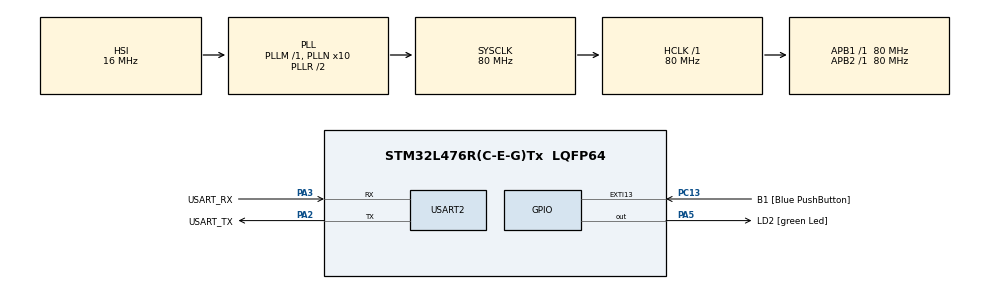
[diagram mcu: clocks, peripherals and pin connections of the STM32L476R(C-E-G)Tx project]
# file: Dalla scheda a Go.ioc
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Mcu.Family=STM32L4
Mcu.Name=STM32L476R(C-E-G)Tx
Mcu.Package=LQFP64
NVIC.PriorityGroup=NVIC_PRIORITYGROUP_4
NVIC.USART2_IRQn=true\:0\:0\:false\:false\:true\:true\:true\:true
PA13\ (JTMS-SWDIO).GPIO_Label=TMS
PA13\ (JTMS-SWDIO).Signal=SYS_JTMS-SWDIO
PA14\ (JTCK-SWCLK).GPIO_Label=TCK
PA14\ (JTCK-SWCLK).Signal=SYS_JTCK-SWCLK
PA2.GPIO_Label=USART_TX
PA2.GPIO_Mode=GPIO_MODE_AF_PP
PA2.GPIO_PuPd=GPIO_NOPULL
PA2.GPIO_Speed=GPIO_SPEED_FREQ_VERY_HIGH
PA2.Mode=Asynchronous
PA2.Signal=USART2_TX
PA3.GPIO_Label=USART_RX
PA3.GPIO_Mode=GPIO_MODE_AF_PP
PA3.GPIO_PuPd=GPIO_NOPULL
PA3.GPIO_Speed=GPIO_SPEED_FREQ_VERY_HIGH
PA3.Mode=Asynchronous
PA3.Signal=USART2_RX
PA5.GPIO_Label=LD2 [green Led]
PA5.GPIO_ModeDefaultOutputPP=GPIO_MODE_OUTPUT_PP
PA5.GPIO_PuPd=GPIO_NOPULL
PA5.GPIO_Speed=GPIO_SPEED_FREQ_LOW
PA5.Signal=GPIO_Output
PB3\ (JTDO-TRACESWO).GPIO_Label=SWO
PB3\ (JTDO-TRACESWO).Signal=SYS_JTDO-SWO
PC13.GPIO_Label=B1 [Blue PushButton]
PC13.GPIO_ModeDefaultEXTI=GPIO_MODE_IT_FALLING
PC13.GPIO_PuPd=GPIO_NOPULL
PC13.Signal=GPXTI13
PC14-OSC32_IN\ (PC14).Signal=RCC_OSC32_IN
PC15-OSC32_OUT\ (PC15).Signal=RCC_OSC32_OUT
PH0-OSC_IN\ (PH0).Signal=RCC_OSC_IN
PH1-OSC_OUT\ (PH1).Signal=RCC_OSC_OUT
ProjectManager.HeapSize=0x200
ProjectManager.StackSize=0x400
ProjectManager.TargetToolchain=STM32CubeIDE
RCC.ADCFreq_Value=64000000
RCC.AHBFreq_Value=80000000
RCC.APB1Freq_Value=80000000
RCC.APB1TimFreq_Value=80000000
RCC.APB2Freq_Value=80000000
RCC.APB2TimFreq_Value=80000000
RCC.CortexFreq_Value=80000000
RCC.HCLKFreq_Value=80000000
RCC.HSE_VALUE=8000000
RCC.HSI_VALUE=16000000
RCC.LSE_VALUE=32768
RCC.MSI_VALUE=4000000
RCC.PLLN=10
RCC.PLLSourceVirtual=RCC_PLLSOURCE_HSI
RCC.PREFETCH_ENABLE=1
RCC.SYSCLKFreq_VALUE=80000000
RCC.SYSCLKSource=RCC_SYSCLKSOURCE_PLLCLK
RCC.USBFreq_Value=64000000
RCC.VCOOutputFreq_Value=160000000
USART2.VirtualMode-Asynchronous=VM_ASYNC
board=NUCLEO-L476RG

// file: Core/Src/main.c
/* USER CODE BEGIN Header */
/**
  ******************************************************************************
  * @file           : main.c
  * @brief          : Main program body - Tappa 1 MyTurn
  ******************************************************************************
  */
/* USER CODE END Header */
#include "main.h"

/* USER CODE BEGIN Includes */
#include <string.h>
/* USER CODE END Includes */

/* USER CODE BEGIN PTD */
typedef enum { OFF, PENDING, APPROVED } stato_t;
/* USER CODE END PTD */

UART_HandleTypeDef huart2;

/* USER CODE BEGIN PV */
volatile stato_t stato = OFF;      /* unica variabile: la cambiano bottone e PC */
uint8_t rx_byte;
char rx_buf[64];
volatile uint8_t rx_len = 0;
char riga[64];
volatile uint8_t riga_pronta = 0;
/* USER CODE END PV */

void SystemClock_Config(void);
static void MX_GPIO_Init(void);
static void MX_USART2_UART_Init(void);

/* USER CODE BEGIN 0 */
void invia(const char *s)
{
  HAL_UART_Transmit(&huart2, (uint8_t*)s, strlen(s), 100);
}
/* USER CODE END 0 */

int main(void)
{

  /* MCU Configuration--------------------------------------------------------*/

  /* Reset of all peripherals, Initializes the Flash interface and the Systick. */
  HAL_Init();

  /* Configure the system clock */
  SystemClock_Config();

  /* Initialize all configured peripherals */
  MX_GPIO_Init();
  MX_USART2_UART_Init();
  /* USER CODE BEGIN 2 */
  HAL_UART_Receive_IT(&huart2, &rx_byte, 1);
  /* USER CODE END 2 */

  /* Infinite loop */
  while (1)
  {

    /* USER CODE BEGIN 3 */
    /* --- bottone B1 con antirimbalzo 50 ms (premuto = RESET) */
    static GPIO_PinState prec = GPIO_PIN_SET;
    static uint32_t t_btn = 0;
    GPIO_PinState ora = HAL_GPIO_ReadPin(B1_GPIO_Port, B1_Pin);
    if (ora != prec && HAL_GetTick() - t_btn > 50)
    {
      t_btn = HAL_GetTick();
      prec = ora;
      if (ora == GPIO_PIN_RESET)
      {
        if (stato == OFF) { stato = PENDING; invia("{\"event\":\"REQUEST\"}\n"); }
        else              { stato = OFF;     invia("{\"event\":\"RELEASE\"}\n"); }
      }
    }

    /* --- comandi dal PC */
    if (riga_pronta)
    {
      if (strstr(riga, "SET_LED") && strstr(riga, "APPROVED"))
      {
        stato = APPROVED;              /* nessuna risposta */
      }
      else if (strstr(riga, "GET_LED"))
      {
        if (stato == OFF)
        {
          invia("{\"led\":\"OFF\"}\n");
        }
        else if (stato == PENDING)
        {
          invia("{\"led\":\"PENDING\"}\n");
        }
        else
        {
          invia("{\"led\":\"APPROVED\"}\n");
        }
      }
      riga_pronta = 0;
    }

    /* --- LED LD2: spento, lampeggiante o fisso (senza HAL_Delay) */
    static uint32_t t_led = 0;
    if (stato == OFF)
    {
      HAL_GPIO_WritePin(LD2_GPIO_Port, LD2_Pin, GPIO_PIN_RESET);
    }
    else if (stato == APPROVED)
    {
      HAL_GPIO_WritePin(LD2_GPIO_Port, LD2_Pin, GPIO_PIN_SET);
    }
    else if (HAL_GetTick() - t_led >= 250)
    {
      t_led = HAL_GetTick();
      HAL_GPIO_TogglePin(LD2_GPIO_Port, LD2_Pin);
    }
  }
  /* USER CODE END 3 */
}

void SystemClock_Config(void)
{
  RCC_OscInitTypeDef RCC_OscInitStruct = {0};
  RCC_ClkInitTypeDef RCC_ClkInitStruct = {0};

  if (HAL_PWREx_ControlVoltageScaling(PWR_REGULATOR_VOLTAGE_SCALE1) != HAL_OK)
  {
    Error_Handler();
  }

  RCC_OscInitStruct.OscillatorType = RCC_OSCILLATORTYPE_HSI;
  RCC_OscInitStruct.HSIState = RCC_HSI_ON;
  RCC_OscInitStruct.HSICalibrationValue = RCC_HSICALIBRATION_DEFAULT;
  RCC_OscInitStruct.PLL.PLLState = RCC_PLL_ON;
  RCC_OscInitStruct.PLL.PLLSource = RCC_PLLSOURCE_HSI;
  RCC_OscInitStruct.PLL.PLLM = 1;
  RCC_OscInitStruct.PLL.PLLN = 10;
  RCC_OscInitStruct.PLL.PLLP = RCC_PLLP_DIV7;
  RCC_OscInitStruct.PLL.PLLQ = RCC_PLLQ_DIV2;
  RCC_OscInitStruct.PLL.PLLR = RCC_PLLR_DIV2;
  if (HAL_RCC_OscConfig(&RCC_OscInitStruct) != HAL_OK)
  {
    Error_Handler();
  }

  RCC_ClkInitStruct.ClockType = RCC_CLOCKTYPE_HCLK|RCC_CLOCKTYPE_SYSCLK
                              |RCC_CLOCKTYPE_PCLK1|RCC_CLOCKTYPE_PCLK2;
  RCC_ClkInitStruct.SYSCLKSource = RCC_SYSCLKSOURCE_PLLCLK;
  RCC_ClkInitStruct.AHBCLKDivider = RCC_SYSCLK_DIV1;
  RCC_ClkInitStruct.APB1CLKDivider = RCC_HCLK_DIV1;
  RCC_ClkInitStruct.APB2CLKDivider = RCC_HCLK_DIV1;

  if (HAL_RCC_ClockConfig(&RCC_ClkInitStruct, FLASH_LATENCY_4) != HAL_OK)
  {
    Error_Handler();
  }
}

static void MX_USART2_UART_Init(void)
{
  huart2.Instance = USART2;
  huart2.Init.BaudRate = 115200;
  huart2.Init.WordLength = UART_WORDLENGTH_8B;
  huart2.Init.StopBits = UART_STOPBITS_1;
  huart2.Init.Parity = UART_PARITY_NONE;
  huart2.Init.Mode = UART_MODE_TX_RX;
  huart2.Init.HwFlowCtl = UART_HWCONTROL_NONE;
  huart2.Init.OverSampling = UART_OVERSAMPLING_16;
  huart2.Init.OneBitSampling = UART_ONE_BIT_SAMPLE_DISABLE;
  huart2.AdvancedInit.AdvFeatureInit = UART_ADVFEATURE_NO_INIT;
  if (HAL_UART_Init(&huart2) != HAL_OK)
  {
    Error_Handler();
  }
}

static void MX_GPIO_Init(void)
{
  GPIO_InitTypeDef GPIO_InitStruct = {0};

  __HAL_RCC_GPIOC_CLK_ENABLE();
  __HAL_RCC_GPIOH_CLK_ENABLE();
  __HAL_RCC_GPIOA_CLK_ENABLE();
  __HAL_RCC_GPIOB_CLK_ENABLE();

  HAL_GPIO_WritePin(LD2_GPIO_Port, LD2_Pin, GPIO_PIN_RESET);

  GPIO_InitStruct.Pin = B1_Pin;
  GPIO_InitStruct.Mode = GPIO_MODE_IT_FALLING;
  GPIO_InitStruct.Pull = GPIO_NOPULL;
  HAL_GPIO_Init(B1_GPIO_Port, &GPIO_InitStruct);

  GPIO_InitStruct.Pin = LD2_Pin;
  GPIO_InitStruct.Mode = GPIO_MODE_OUTPUT_PP;
  GPIO_InitStruct.Pull = GPIO_NOPULL;
  GPIO_InitStruct.Speed = GPIO_SPEED_FREQ_LOW;
  HAL_GPIO_Init(LD2_GPIO_Port, &GPIO_InitStruct);
}

/* USER CODE BEGIN 4 */
/* Arriva un byte dal PC: lo aggiungo alla riga; CR o LF chiudono la riga */
void HAL_UART_RxCpltCallback(UART_HandleTypeDef *huart)
{
  if (huart->Instance == USART2)
  {
    if (rx_byte == '\n' || rx_byte == '\r')
    {
      if (rx_len > 0 && !riga_pronta)
      {
        rx_buf[rx_len] = '\0';
        strcpy(riga, rx_buf);
        riga_pronta = 1;
      }
      rx_len = 0;
    }
    else if (rx_len < sizeof(rx_buf) - 1)
    {
      rx_buf[rx_len++] = rx_byte;
    }
    HAL_UART_Receive_IT(&huart2, &rx_byte, 1);
  }
}

/* Se c'e' un errore (es. overrun) riparto con la ricezione */
void HAL_UART_ErrorCallback(UART_HandleTypeDef *huart)
{
  if (huart->Instance == USART2)
  {
    HAL_UART_Receive_IT(&huart2, &rx_byte, 1);
  }
}
/* USER CODE END 4 */

void Error_Handler(void)
{
  __disable_irq();
  while (1)
  {
  }
}
